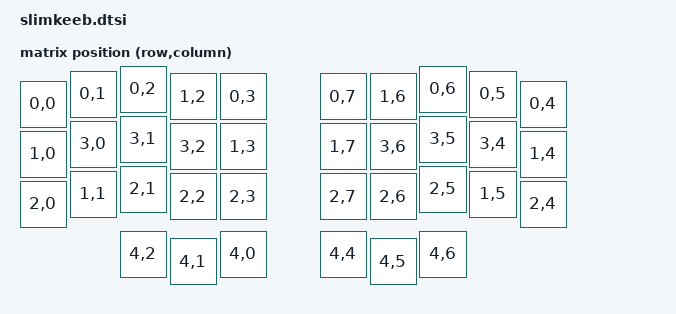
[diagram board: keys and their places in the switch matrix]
/*
 * Copyright (c) 2020 The ZMK Contributors
 *
 * SPDX-License-Identifier: MIT
 */

#include <dt-bindings/zmk/matrix_transform.h>
#include <physical_layouts.dtsi>  /* <--- 이게 추가되어야 합니다! */

/ {
    chosen {
        zmk,physical-layout = &physical_layout0;
    };

    /* * [삭제됨] key_physical_attrs 정의 
     * 위에서 physical_layouts.dtsi를 include 했으므로 
     * 더 이상 직접 정의할 필요가 없습니다.
     */

    default_transform: keymap_transform_0 {
        compatible = "zmk,matrix-transform";
        columns = <8>;
        rows = <5>;
        map = <
            RC(0,0) RC(0,1) RC(0,2) RC(1,2) RC(0,3)    RC(0,7) RC(1,6) RC(0,6) RC(0,5) RC(0,4)
            RC(1,0) RC(3,0) RC(3,1) RC(3,2) RC(1,3)    RC(1,7) RC(3,6) RC(3,5) RC(3,4) RC(1,4)
            RC(2,0) RC(1,1) RC(2,1) RC(2,2) RC(2,3)    RC(2,7) RC(2,6) RC(2,5) RC(1,5) RC(2,4)
                            RC(4,2) RC(4,1) RC(4,0)    RC(4,4) RC(4,5) RC(4,6)
        >;
    };

    layouts {
        compatible = "zmk,physical-layout-list";

        physical_layout0: physical_layout_0 {
            compatible = "zmk,physical-layout";
            display-name = "SlimPie36";
            transform = <&default_transform>;
            
            /* 여기에 우리가 아까 만든 좌표 데이터를 넣습니다 */
            keys = 
                /* --- Left Hand (Top Row) --- */
                /* W    H    X    Y    rx ry rz */
                <&key_physical_attrs  100  100    0   30     0  0  0>, /* Pinky */
                <&key_physical_attrs  100  100  100   10     0  0  0>, /* Ring */
                <&key_physical_attrs  100  100  200    0     0  0  0>, /* Middle */
                <&key_physical_attrs  100  100  300   15     0  0  0>, /* Index */
                <&key_physical_attrs  100  100  400   15     0  0  0>, /* Inner */

                /* --- Right Hand (Top Row) --- */
                <&key_physical_attrs  100  100  600   15     0  0  0>,
                <&key_physical_attrs  100  100  700   15     0  0  0>,
                <&key_physical_attrs  100  100  800    0     0  0  0>,
                <&key_physical_attrs  100  100  900   10     0  0  0>,
                <&key_physical_attrs  100  100 1000   30     0  0  0>,

                /* --- Left Hand (Middle Row) --- */
                <&key_physical_attrs  100  100    0  130     0  0  0>,
                <&key_physical_attrs  100  100  100  110     0  0  0>,
                <&key_physical_attrs  100  100  200  100     0  0  0>,
                <&key_physical_attrs  100  100  300  115     0  0  0>,
                <&key_physical_attrs  100  100  400  115     0  0  0>,

                /* --- Right Hand (Middle Row) --- */
                <&key_physical_attrs  100  100  600  115     0  0  0>,
                <&key_physical_attrs  100  100  700  115     0  0  0>,
                <&key_physical_attrs  100  100  800  100     0  0  0>,
                <&key_physical_attrs  100  100  900  110     0  0  0>,
                <&key_physical_attrs  100  100 1000  130     0  0  0>,

                /* --- Left Hand (Bottom Row) --- */
                <&key_physical_attrs  100  100    0  230     0  0  0>,
                <&key_physical_attrs  100  100  100  210     0  0  0>,
                <&key_physical_attrs  100  100  200  200     0  0  0>,
                <&key_physical_attrs  100  100  300  215     0  0  0>,
                <&key_physical_attrs  100  100  400  215     0  0  0>,

                /* --- Right Hand (Bottom Row) --- */
                <&key_physical_attrs  100  100  600  215     0  0  0>,
                <&key_physical_attrs  100  100  700  215     0  0  0>,
                <&key_physical_attrs  100  100  800  200     0  0  0>,
                <&key_physical_attrs  100  100  900  210     0  0  0>,
                <&key_physical_attrs  100  100 1000  230     0  0  0>,

                /* --- Left Thumb --- */
                <&key_physical_attrs  100  100  200  330     0  0  0>,
                <&key_physical_attrs  100  100  300  345     0  0  0>,
                <&key_physical_attrs  100  100  400  330     0  0  0>,

                /* --- Right Thumb --- */
                <&key_physical_attrs  100  100  600  330     0  0  0>,
                <&key_physical_attrs  100  100  700  345     0  0  0>,
                <&key_physical_attrs  100  100  800  330     0  0  0>;
        };
    };
};
